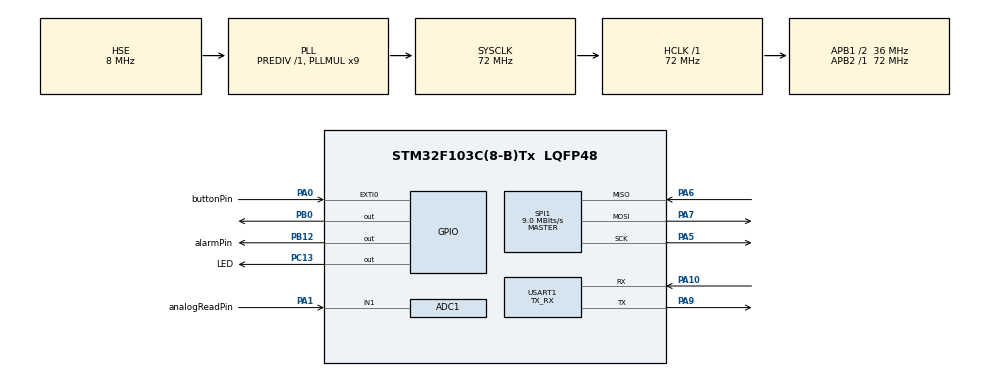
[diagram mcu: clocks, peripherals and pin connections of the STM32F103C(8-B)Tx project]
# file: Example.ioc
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ADC1.Channel-0\#ChannelRegularConversion=ADC_CHANNEL_1
ADC1.ContinuousConvMode=DISABLE
ADC1.NbrOfConversion=1
ADC1.NbrOfConversionFlag=1
ADC1.Rank-0\#ChannelRegularConversion=1
ADC1.SamplingTime-0\#ChannelRegularConversion=ADC_SAMPLETIME_1CYCLE_5
ADC1.master=1
FATFS._MAX_SS=4096
FATFS._USE_LFN=1
Mcu.Family=STM32F1
Mcu.Name=STM32F103C(8-B)Tx
Mcu.Package=LQFP48
NVIC.EXTI0_IRQn=true\:0\:0\:false\:false\:true\:true\:true
NVIC.PriorityGroup=NVIC_PRIORITYGROUP_4
NVIC.RTC_Alarm_IRQn=true\:0\:0\:false\:false\:true\:true\:true
PA0-WKUP.GPIO_Label=buttonPin
PA0-WKUP.GPIO_ModeDefaultEXTI=GPIO_MODE_IT_FALLING
PA0-WKUP.GPIO_PuPd=GPIO_PULLUP
PA0-WKUP.Signal=GPXTI0
PA1.GPIO_Label=analogReadPin
PA1.Signal=ADCx_IN1
PA10.Mode=Asynchronous
PA10.Signal=USART1_RX
PA13.Mode=Serial_Wire
PA13.Signal=SYS_JTMS-SWDIO
PA14.Mode=Serial_Wire
PA14.Signal=SYS_JTCK-SWCLK
PA5.Mode=Full_Duplex_Master
PA5.Signal=SPI1_SCK
PA6.Mode=Full_Duplex_Master
PA6.Signal=SPI1_MISO
PA7.Mode=Full_Duplex_Master
PA7.Signal=SPI1_MOSI
PA9.Mode=Asynchronous
PA9.Signal=USART1_TX
PB0.Signal=GPIO_Output
PB12.GPIO_Label=alarmPin
PB12.Signal=GPIO_Output
PC13-TAMPER-RTC.GPIO_Label=LED
PC13-TAMPER-RTC.Signal=GPIO_Output
PD0-OSC_IN.Mode=HSE-External-Oscillator
PD0-OSC_IN.Signal=RCC_OSC_IN
PD1-OSC_OUT.Mode=HSE-External-Oscillator
PD1-OSC_OUT.Signal=RCC_OSC_OUT
ProjectManager.HeapSize=0x200
ProjectManager.StackSize=0x400
ProjectManager.TargetToolchain=STM32CubeIDE
RCC.ADCPresc=RCC_ADCPCLK2_DIV6
RCC.AHBFreq_Value=72000000
RCC.APB1CLKDivider=RCC_HCLK_DIV2
RCC.APB1Freq_Value=36000000
RCC.APB1TimFreq_Value=72000000
RCC.APB2Freq_Value=72000000
RCC.APB2TimFreq_Value=72000000
RCC.HCLKFreq_Value=72000000
RCC.PLLMUL=RCC_PLL_MUL9
RCC.PLLSourceVirtual=RCC_PLLSOURCE_HSE
RCC.RTCClockSelection=RCC_RTCCLKSOURCE_HSE_DIV128
RCC.SYSCLKFreq_VALUE=72000000
RCC.SYSCLKSource=RCC_SYSCLKSOURCE_PLLCLK
RCC.USBFreq_Value=72000000
RTC.Date=5
RTC.Hours=5
RTC.Minutes=45
RTC.Month=RTC_MONTH_MAY
RTC.WeekDay=RTC_WEEKDAY_TUESDAY
RTC.Year=20
SH.ADCx_IN1.0=ADC1_IN1,IN1
SH.ADCx_IN1.1=ADC2_IN1
SPI1.BaudRatePrescaler=SPI_BAUDRATEPRESCALER_8
SPI1.CalculateBaudRate=9.0 MBits/s
SPI1.Direction=SPI_DIRECTION_2LINES
SPI1.Mode=SPI_MODE_MASTER
SPI1.VirtualType=VM_MASTER
USART1.Mode=MODE_TX_RX
USART1.VirtualMode=VM_ASYNC
VP_FATFS_VS_Generic.Mode=User_defined
VP_RTC_No_RTC_Output.Mode=RTC_OUT_NO
VP_RTC_VS_RTC_Activate.Mode=RTC_Enabled
VP_RTC_VS_RTC_Calendar.Mode=RTC_Calendar
board=custom

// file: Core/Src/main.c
/* USER CODE BEGIN Header */
/**
  ******************************************************************************
  * @file           : main.c
  * @brief          : Main program body
  ******************************************************************************
  * @attention
  *
  * <h2><center>&copy; Copyright (c) 2020 STMicroelectronics.
  * All rights reserved.</center></h2>
  *
  * This software component is licensed by ST under BSD 3-Clause license,
  * the "License"; You may not use this file except in compliance with the
  * License. You may obtain a copy of the License at:
  *                        opensource.org/licenses/BSD-3-Clause
  *
  ******************************************************************************
  */
/* USER CODE END Header */

#include "main.h"
#include "fatfs.h"

/* USER CODE BEGIN Includes */
#include "string.h"
#include "stdio.h"
#include "stdlib.h"
/* USER CODE END Includes */

/* USER CODE BEGIN PD */
#define BUFFER_SIZE 128	//Buffer para la lectura de memoria SD
/* USER CODE END PD */

ADC_HandleTypeDef hadc1;

RTC_HandleTypeDef hrtc;

SPI_HandleTypeDef hspi1;

UART_HandleTypeDef huart1;

/* USER CODE BEGIN PV */
uint8_t buttonPinFlag;		//Bandera para la interrupción externa.

FATFS fs;  					//Variable de tipo archivo de sistema
FIL fil;					//Variable de tipo archivo
FILINFO fno;				//Variable de tipo información de archivo
FRESULT fresult;  			//Variable para almacenar resultado de operaciones
UINT br, bw;  				//Variables contador para lectura/escritura

/**** Variables relacionadas a capacidad de almacenamiento *****/
FATFS *pfs;
DWORD fre_clust;
uint32_t total, free_space;

char buffer[BUFFER_SIZE];  	//Arreglo para almacenar cadenas
int i = 0;					//Contador para recorrer "buffer"

//RTC_AlarmTypeDef gAlarm;		//Estructura de alarma

/* USER CODE END PV */

void SystemClock_Config(void);
static void MX_GPIO_Init(void);
static void MX_ADC1_Init(void);
static void MX_USART1_UART_Init(void);
static void MX_SPI1_Init(void);
static void MX_RTC_Init(void);
/* USER CODE BEGIN PFP */
void HAL_GPIO_EXTI_Callback(uint16_t GPIO_Pin);	//Atención a interrupción
int bufsize (uint8_t *buf);						//Función para calcular dimensión de buffer
void clear_buffer (void);						//Función para limpiar buffer
void send_uart(char *string);					//Función para mandar cadenas UART

static void Set_Time(void);
static void Set_Date(void);
static void Set_Alarm(void);

void HAL_RTC_AlarmAEventCallback(RTC_HandleTypeDef * hrtc);
/* USER CODE END PFP */

/* USER CODE BEGIN 0 */

//******************************************************************************
/***** Atención a interrupción externa *****/
void HAL_GPIO_EXTI_Callback(uint16_t GPIO_Pin)
{
	buttonPinFlag = 1;
	return;
}
//******************************************************************************
/***** Obtener tamaño de buffer *****/
int bufsize (uint8_t *buf)
{
	int i = 0;
	while(*buf++ != '\0')
		i++;
	return i;
}
//******************************************************************************
/***** Limpiar buffer *****/
void clear_buffer (void)
{
	for(int i = 0; i < BUFFER_SIZE; i++)
		buffer[i] = '\0';
}
//******************************************************************************
/***** Enviar strings por UART *****/
void send_uart(char *string)
{
	uint8_t len = strlen(string);
	HAL_UART_Transmit(&huart1, (uint8_t *) string, len, HAL_MAX_DELAY);  //Transmitir en modo bloqueo
}

//******************************************************************************
/*
 * Sets the time.
 */
static void Set_Time(void)
{

	RTC_TimeTypeDef sTime = {0};

	sTime.Hours = 0x12;
	sTime.Minutes = 0x00;
	sTime.Seconds = 0x00;

	if (HAL_RTC_SetTime(&hrtc, &sTime, RTC_FORMAT_BCD) != HAL_OK)
	{
	  Error_Handler();
	}

	return;
}
//******************************************************************************
/*
 * Sets the date.
 */
static void Set_Date(void)
{
	RTC_DateTypeDef DateToUpdate = {0};

	DateToUpdate.WeekDay = RTC_WEEKDAY_THURSDAY;
	DateToUpdate.Month = RTC_MONTH_APRIL;
	DateToUpdate.Date = 0x30;
	DateToUpdate.Year = 0x20;

	if (HAL_RTC_SetDate(&hrtc, &DateToUpdate, RTC_FORMAT_BCD) != HAL_OK)
	{
	  Error_Handler();
	}

	return;
}
//******************************************************************************
/*
 * Sets the alarm in interrupt mode.
 */
static void Set_Alarm(void)
{
	RTC_AlarmTypeDef gAlarm = {0};

	gAlarm.Alarm = 1;

	gAlarm.AlarmTime.Hours = 0x12;
	gAlarm.AlarmTime.Minutes = 0x00;
	gAlarm.AlarmTime.Seconds = 0x15;

	if(HAL_RTC_SetAlarm_IT(&hrtc, &gAlarm, RTC_FORMAT_BCD) != HAL_OK)
	{
		Error_Handler();
	}

	return;
}

/*
 * Alarm event handler. Interrupt happens when actual time is equals to alarm
 */
void HAL_RTC_AlarmAEventCallback (RTC_HandleTypeDef * hrtc)
{
	char logName[17];
	RTC_DateTypeDef gDate;

	HAL_RTC_GetDate(hrtc, &gDate, RTC_FORMAT_BIN);
	sprintf(logName, "log_%02u-%02u-%02u.txt", gDate.Date, gDate.Month, gDate.Year);

	fresult = f_open(&fil, logName, FA_CREATE_ALWAYS | FA_WRITE);
	f_close(&fil);

	uint8_t alarmArray[] = "Alarm!\n";
	HAL_UART_Transmit(&huart1, alarmArray, sizeof(alarmArray), 200);

	return;
}
//******************************************************************************
/* USER CODE END 0 */

int main(void)
{

  /* MCU Configuration--------------------------------------------------------*/

  /* Reset of all peripherals, Initializes the Flash interface and the Systick. */
  HAL_Init();

  /* Configure the system clock */
  SystemClock_Config();

  /* Initialize all configured peripherals */
  MX_GPIO_Init();
  MX_ADC1_Init();
  MX_USART1_UART_Init();
  MX_FATFS_Init();
  MX_SPI1_Init();
  MX_RTC_Init();
  /* USER CODE BEGIN 2 */

  //This sentence evaluates if time/date/alarm was already updated
//  if(HAL_RTCEx_BKUPRead(&hrtc, RTC_BKP_DR1) != 0x32F2)
//  {
//  //Set the time, date and alarm
//	  Set_Time();
//  	  Set_Date();
//  	  Set_Alarm();
//  	  //This is used to store value even when uC is restarted (using backup battery/supply)
//  	  HAL_RTCEx_BKUPWrite(&hrtc, RTC_BKP_DR1, 0x32F2);
//  }

  Set_Time();
  Set_Date();
  Set_Alarm();

  /***** Montar tarjeta SD - función f_mount *****/
  fresult = f_mount(&fs, "/", 1);
  	if(fresult != FR_OK)
  		send_uart("Error in mounting SD CARD.\n\n");
  	else
  		send_uart("SD CARD mounted successfully.\n\n");

  	/*********************UPDATING an existing file ***************************/

  	//Open the file with write access
  	//fresult = f_open(&fil, "log3.txt", FA_OPEN_EXISTING | FA_READ | FA_WRITE);
  	/*fresult = f_open(&fil, "file1.txt", FA_OPEN_EXISTING | FA_READ | FA_WRITE);

  	//Move to offset to the end of the file
  	fresult = f_lseek(&fil, f_size(&fil));

  	if(fresult == FR_OK)
  		//send_uart("About to update the log3.txt\n");
  		send_uart("About to update the file1.txt\n");

  	//Write the string to the file
  	fresult = f_puts("\nActualización", &fil);
  	//fresult = f_puts("1", &fil);

  	f_close(&fil);

  	clear_buffer();

  	//Open to read the file
  	fresult = f_open (&fil, "file1.txt", FA_READ);
  	//fresult = f_open(&fil, "log3.txt", FA_READ);

  	//Read string from the file
  	fresult = f_read(&fil, buffer, f_size(&fil), &br);
  	if(fresult == FR_OK)
  		send_uart("Below is the data from updated file1.txt\n");

  	send_uart(buffer);
  	send_uart("\n\n");

  	//Close file
  	f_close(&fil);

  	clear_buffer();*/

  	/**************** The following operation is using f_write and f_read **************************/

  	//Create second file with read write access and open it
  	/*fresult = f_open(&fil, "file2.txt", FA_CREATE_ALWAYS | FA_WRITE);

  	//Writing text
  	strcpy(buffer, "This is File2.txt, written using ...f_write... and it says Hello from Controllerstech\n");

	fresult = f_write(&fil, buffer, bufsize(buffer), &bw);

  	send_uart("File2.txt created and data is written\n");

  	//Close file
  	f_close(&fil);

  	//Clearing buffer to show that result obtained is from the file
  	clear_buffer();

  	//Open second file to read
  	fresult = f_open(&fil, "file2.txt", FA_READ);
  	if(fresult == FR_OK)send_uart ("file2.txt is open and the data is shown below\n");

  	//Read data from the file
  	//Please see the function details for the arguments
  	f_read(&fil, buffer, f_size(&fil), &br);
  	send_uart(buffer);
  	send_uart("\n\n");

  	//Close file
  	f_close(&fil);

  	clear_buffer();*/

  /* USER CODE END 2 */

  /* Infinite loop */
  /* USER CODE BEGIN WHILE */

  //  uint16_t adcSample = 0;
  //  void * padcSample = &adcSample;
  //  uint8_t sendData = 0;

  RTC_TimeTypeDef gTime;		//Estructura de hora
  RTC_DateTypeDef gDate;		//Estructura de fecha

  uint8_t time[10];				//Arreglo de hora
  uint8_t date[10];				//Arreglo de fecha
  uint8_t sendDataBuffer[23];	//Cadena para UART/MicroSD

  float adcSample = 0.0;		//Muestra de ADC
  buttonPinFlag = 0;			//Bandera de interrupción externa

  while (1)
  {

	  //Evaluar interrupción
	  if(buttonPinFlag == 1){
		  buttonPinFlag = 0;

		  /***** Conversión ADC *****/
		  HAL_ADC_Start(&hadc1);
		  HAL_ADC_PollForConversion(&hadc1, 200);
		  adcSample = HAL_ADC_GetValue(&hadc1) * (0.000805); //Conversión: (adcSample) * (3.3v/(2^12)) = adcSample * 0.000805 (aprox).
		  HAL_ADC_Stop(&hadc1);

		  //Copiar string "Voltaje..." + adcSample (ASCII) a sendDataBuffer.
		  uint8_t bufferSize = sprintf((char *)sendDataBuffer, "Voltaje: %1.2f voltios\n", adcSample);

//		  itoa((uint8_t)adcSample, (char *)buffer, 10);
//		  itoa((uint8_t)adcSample, (char *)sendDataBuffer, 10);
//		  HAL_UART_Transmit(&huart1, sendDataBuffer, sizeof(sendDataBuffer), 100);
//		  HAL_UART_Transmit(&huart1, padcSample, 1, 100);

		  //Enviamos cadena por UART
		  HAL_UART_Transmit(&huart1, sendDataBuffer, sizeof(sendDataBuffer), 100);
		  //
		  HAL_GPIO_TogglePin(LED_GPIO_Port, LED_Pin);

		  /***** Leemos hora y fecha, guardamos en strings *****/
		  HAL_RTC_GetTime(&hrtc, &gTime, RTC_FORMAT_BIN);
		  uint8_t timeSizeBuffer = sprintf((char *)time, "%02u:%02u:%02u ", gTime.Hours, gTime.Minutes, gTime.Seconds);
		  HAL_RTC_GetDate(&hrtc, &gDate, RTC_FORMAT_BIN);
		  uint8_t dateSizeBuffer = sprintf((char *)date, "%02u-%02u-%02u ", gDate.Date, gDate.Month, gDate.Year);

		  //Abrir archivo
		  fresult = f_open(&fil, "file1.txt", FA_OPEN_EXISTING | FA_READ | FA_WRITE);

		  //Mover al final del archivo
		  fresult = f_lseek(&fil, f_size(&fil));
		  //Escribir información en la dirección apuntada por &fil
		  fresult = f_write(&fil, time, timeSizeBuffer, &bw);
		  fresult = f_write(&fil, date, dateSizeBuffer, &bw);
		  fresult = f_write(&fil, sendDataBuffer, bufferSize, &bw);

		  //fresult = f_write(&fil, psendData, bufsize(psendData), &bw);
		  //fresult = f_write(&fil, &sendData, 1, &bw);
		  //fresult = f_write(&fil, sendDataBuffer, sizeof(sendDataBuffer), &bw);
		  //fresult = f_puts("1", &fil);
		  //fresult = f_puts(" voltios\n", &fil);
		  //fresult = f_puts("Voltaje leído: ", &fil);

		  //Cerramos archivo
		  f_close(&fil);

		  //Limpiamos buffer
		  clear_buffer();

		  //Esperar
		  HAL_Delay(100);
	  }

    /* USER CODE END WHILE */

    /* USER CODE BEGIN 3 */
  }
  return 0;
  /* USER CODE END 3 */
}

void SystemClock_Config(void)
{
  RCC_OscInitTypeDef RCC_OscInitStruct = {0};
  RCC_ClkInitTypeDef RCC_ClkInitStruct = {0};
  RCC_PeriphCLKInitTypeDef PeriphClkInit = {0};

  /** Initializes the CPU, AHB and APB busses clocks
  */
  RCC_OscInitStruct.OscillatorType = RCC_OSCILLATORTYPE_HSE;
  RCC_OscInitStruct.HSEState = RCC_HSE_ON;
  RCC_OscInitStruct.HSEPredivValue = RCC_HSE_PREDIV_DIV1;
  RCC_OscInitStruct.HSIState = RCC_HSI_ON;
  RCC_OscInitStruct.PLL.PLLState = RCC_PLL_ON;
  RCC_OscInitStruct.PLL.PLLSource = RCC_PLLSOURCE_HSE;
  RCC_OscInitStruct.PLL.PLLMUL = RCC_PLL_MUL9;
  if (HAL_RCC_OscConfig(&RCC_OscInitStruct) != HAL_OK)
  {
    Error_Handler();
  }
  /** Initializes the CPU, AHB and APB busses clocks
  */
  RCC_ClkInitStruct.ClockType = RCC_CLOCKTYPE_HCLK|RCC_CLOCKTYPE_SYSCLK
                              |RCC_CLOCKTYPE_PCLK1|RCC_CLOCKTYPE_PCLK2;
  RCC_ClkInitStruct.SYSCLKSource = RCC_SYSCLKSOURCE_PLLCLK;
  RCC_ClkInitStruct.AHBCLKDivider = RCC_SYSCLK_DIV1;
  RCC_ClkInitStruct.APB1CLKDivider = RCC_HCLK_DIV2;
  RCC_ClkInitStruct.APB2CLKDivider = RCC_HCLK_DIV1;

  if (HAL_RCC_ClockConfig(&RCC_ClkInitStruct, FLASH_LATENCY_2) != HAL_OK)
  {
    Error_Handler();
  }
  PeriphClkInit.PeriphClockSelection = RCC_PERIPHCLK_RTC|RCC_PERIPHCLK_ADC;
  PeriphClkInit.RTCClockSelection = RCC_RTCCLKSOURCE_HSE_DIV128;
  PeriphClkInit.AdcClockSelection = RCC_ADCPCLK2_DIV6;
  if (HAL_RCCEx_PeriphCLKConfig(&PeriphClkInit) != HAL_OK)
  {
    Error_Handler();
  }
}

static void MX_ADC1_Init(void)
{

  ADC_ChannelConfTypeDef sConfig = {0};

  /** Common config
  */
  hadc1.Instance = ADC1;
  hadc1.Init.ScanConvMode = ADC_SCAN_DISABLE;
  hadc1.Init.ContinuousConvMode = DISABLE;
  hadc1.Init.DiscontinuousConvMode = DISABLE;
  hadc1.Init.ExternalTrigConv = ADC_SOFTWARE_START;
  hadc1.Init.DataAlign = ADC_DATAALIGN_RIGHT;
  hadc1.Init.NbrOfConversion = 1;
  if (HAL_ADC_Init(&hadc1) != HAL_OK)
  {
    Error_Handler();
  }
  /** Configure Regular Channel
  */
  sConfig.Channel = ADC_CHANNEL_1;
  sConfig.Rank = ADC_REGULAR_RANK_1;
  sConfig.SamplingTime = ADC_SAMPLETIME_1CYCLE_5;
  if (HAL_ADC_ConfigChannel(&hadc1, &sConfig) != HAL_OK)
  {
    Error_Handler();
  }

}

static void MX_RTC_Init(void)
{

//  RTC_TimeTypeDef sTime = {0};
//  RTC_DateTypeDef DateToUpdate = {0};

  /** Initialize RTC Only
  */
  hrtc.Instance = RTC;
  hrtc.Init.AsynchPrediv = RTC_AUTO_1_SECOND;
  hrtc.Init.OutPut = RTC_OUTPUTSOURCE_NONE;
  if (HAL_RTC_Init(&hrtc) != HAL_OK)
  {
    Error_Handler();
  }

  /** Initialize RTC and set the Time and Date
  */
//  sTime.Hours = 0x5;
//  sTime.Minutes = 0x45;
//  sTime.Seconds = 0x0;
//
//  if (HAL_RTC_SetTime(&hrtc, &sTime, RTC_FORMAT_BCD) != HAL_OK)
//  {
//    Error_Handler();
//  }
//  DateToUpdate.WeekDay = RTC_WEEKDAY_TUESDAY;
//  DateToUpdate.Month = RTC_MONTH_MAY;
//  DateToUpdate.Date = 0x5;
//  DateToUpdate.Year = 0x20;
//
//  if (HAL_RTC_SetDate(&hrtc, &DateToUpdate, RTC_FORMAT_BCD) != HAL_OK)
//  {
//    Error_Handler();
//  }

}

static void MX_SPI1_Init(void)
{

  /* SPI1 parameter configuration*/
  hspi1.Instance = SPI1;
  hspi1.Init.Mode = SPI_MODE_MASTER;
  hspi1.Init.Direction = SPI_DIRECTION_2LINES;
  hspi1.Init.DataSize = SPI_DATASIZE_8BIT;
  hspi1.Init.CLKPolarity = SPI_POLARITY_LOW;
  hspi1.Init.CLKPhase = SPI_PHASE_1EDGE;
  hspi1.Init.NSS = SPI_NSS_SOFT;
  hspi1.Init.BaudRatePrescaler = SPI_BAUDRATEPRESCALER_8;
  hspi1.Init.FirstBit = SPI_FIRSTBIT_MSB;
  hspi1.Init.TIMode = SPI_TIMODE_DISABLE;
  hspi1.Init.CRCCalculation = SPI_CRCCALCULATION_DISABLE;
  hspi1.Init.CRCPolynomial = 10;
  if (HAL_SPI_Init(&hspi1) != HAL_OK)
  {
    Error_Handler();
  }

}

static void MX_USART1_UART_Init(void)
{

  huart1.Instance = USART1;
  huart1.Init.BaudRate = 115200;
  huart1.Init.WordLength = UART_WORDLENGTH_8B;
  huart1.Init.StopBits = UART_STOPBITS_1;
  huart1.Init.Parity = UART_PARITY_NONE;
  huart1.Init.Mode = UART_MODE_TX_RX;
  huart1.Init.HwFlowCtl = UART_HWCONTROL_NONE;
  huart1.Init.OverSampling = UART_OVERSAMPLING_16;
  if (HAL_UART_Init(&huart1) != HAL_OK)
  {
    Error_Handler();
  }

}

static void MX_GPIO_Init(void)
{
  GPIO_InitTypeDef GPIO_InitStruct = {0};

  /* GPIO Ports Clock Enable */
  __HAL_RCC_GPIOC_CLK_ENABLE();
  __HAL_RCC_GPIOD_CLK_ENABLE();
  __HAL_RCC_GPIOA_CLK_ENABLE();
  __HAL_RCC_GPIOB_CLK_ENABLE();

  /*Configure GPIO pin Output Level */
  HAL_GPIO_WritePin(LED_GPIO_Port, LED_Pin, GPIO_PIN_RESET);

  /*Configure GPIO pin Output Level */
  HAL_GPIO_WritePin(GPIOB, GPIO_PIN_0|alarmPin_Pin, GPIO_PIN_RESET);

  /*Configure GPIO pin : LED_Pin */
  GPIO_InitStruct.Pin = LED_Pin;
  GPIO_InitStruct.Mode = GPIO_MODE_OUTPUT_PP;
  GPIO_InitStruct.Pull = GPIO_NOPULL;
  GPIO_InitStruct.Speed = GPIO_SPEED_FREQ_LOW;
  HAL_GPIO_Init(LED_GPIO_Port, &GPIO_InitStruct);

  /*Configure GPIO pin : buttonPin_Pin */
  GPIO_InitStruct.Pin = buttonPin_Pin;
  GPIO_InitStruct.Mode = GPIO_MODE_IT_FALLING;
  GPIO_InitStruct.Pull = GPIO_PULLUP;
  HAL_GPIO_Init(buttonPin_GPIO_Port, &GPIO_InitStruct);

  /*Configure GPIO pin : analogReadPin_Pin */
  GPIO_InitStruct.Pin = analogReadPin_Pin;
  GPIO_InitStruct.Mode = GPIO_MODE_ANALOG;
  HAL_GPIO_Init(analogReadPin_GPIO_Port, &GPIO_InitStruct);

  /*Configure GPIO pins : PB0 alarmPin_Pin */
  GPIO_InitStruct.Pin = GPIO_PIN_0|alarmPin_Pin;
  GPIO_InitStruct.Mode = GPIO_MODE_OUTPUT_PP;
  GPIO_InitStruct.Pull = GPIO_NOPULL;
  GPIO_InitStruct.Speed = GPIO_SPEED_FREQ_LOW;
  HAL_GPIO_Init(GPIOB, &GPIO_InitStruct);

  /* EXTI interrupt init*/
  HAL_NVIC_SetPriority(EXTI0_IRQn, 0, 0);
  HAL_NVIC_EnableIRQ(EXTI0_IRQn);

}

void Error_Handler(void)
{
}

/************************ (C) COPYRIGHT STMicroelectronics *****END OF FILE****/
